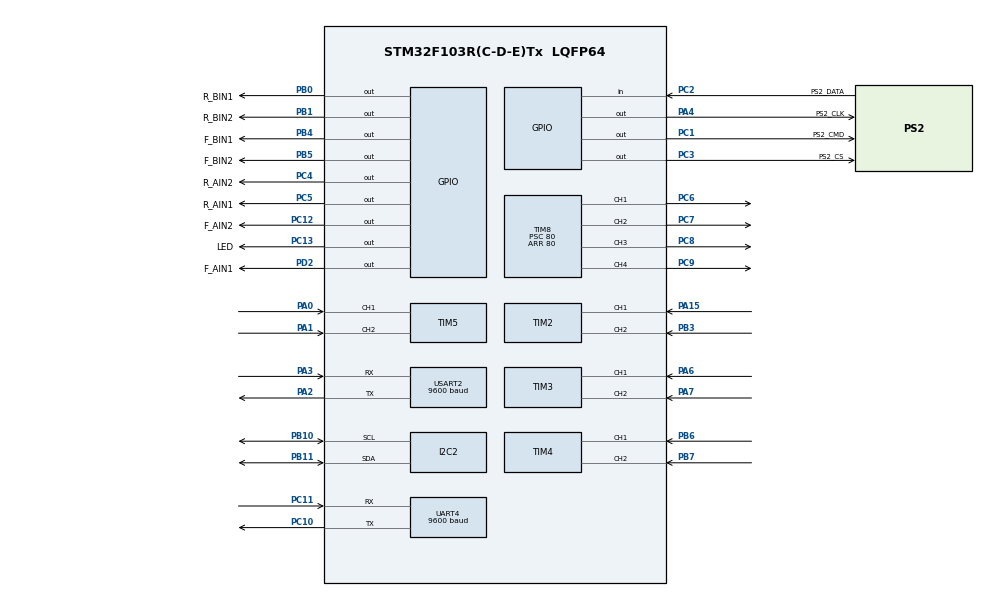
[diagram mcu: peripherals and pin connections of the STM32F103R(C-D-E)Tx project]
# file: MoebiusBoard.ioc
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Dma.Request0=UART4_RX
Dma.Request1=USART2_RX
Dma.UART4_RX.0.Direction=DMA_PERIPH_TO_MEMORY
Dma.UART4_RX.0.Instance=DMA2_Channel3
Dma.UART4_RX.0.MemDataAlignment=DMA_MDATAALIGN_BYTE
Dma.UART4_RX.0.MemInc=DMA_MINC_ENABLE
Dma.UART4_RX.0.Mode=DMA_NORMAL
Dma.UART4_RX.0.PeriphDataAlignment=DMA_PDATAALIGN_BYTE
Dma.UART4_RX.0.PeriphInc=DMA_PINC_DISABLE
Dma.UART4_RX.0.Priority=DMA_PRIORITY_LOW
Dma.USART2_RX.1.Direction=DMA_PERIPH_TO_MEMORY
Dma.USART2_RX.1.Instance=DMA1_Channel6
Dma.USART2_RX.1.MemDataAlignment=DMA_MDATAALIGN_BYTE
Dma.USART2_RX.1.MemInc=DMA_MINC_ENABLE
Dma.USART2_RX.1.Mode=DMA_NORMAL
Dma.USART2_RX.1.PeriphDataAlignment=DMA_PDATAALIGN_BYTE
Dma.USART2_RX.1.PeriphInc=DMA_PINC_DISABLE
Dma.USART2_RX.1.Priority=DMA_PRIORITY_LOW
Mcu.Family=STM32F1
Mcu.Name=STM32F103R(C-D-E)Tx
Mcu.Package=LQFP64
NVIC.DMA1_Channel6_IRQn=true\:0\:0\:false\:false\:true\:false\:true\:true
NVIC.DMA2_Channel3_IRQn=true\:0\:0\:false\:false\:true\:false\:true\:true
NVIC.PriorityGroup=NVIC_PRIORITYGROUP_4
NVIC.TIM2_IRQn=true\:0\:0\:false\:false\:true\:true\:true\:true
NVIC.TIM3_IRQn=true\:0\:0\:false\:false\:true\:true\:true\:true
NVIC.TIM4_IRQn=true\:0\:0\:false\:false\:true\:true\:true\:true
NVIC.TIM5_IRQn=true\:0\:0\:false\:false\:true\:true\:true\:true
NVIC.UART4_IRQn=true\:0\:0\:false\:false\:true\:true\:true\:true
PA0-WKUP.Signal=S_TIM5_CH1
PA1.Signal=S_TIM5_CH2
PA13.Mode=Serial_Wire
PA13.Signal=SYS_JTMS-SWDIO
PA14.Mode=Serial_Wire
PA14.Signal=SYS_JTCK-SWCLK
PA15.Signal=S_TIM2_CH1_ETR
PA2.Mode=Asynchronous
PA2.Signal=USART2_TX
PA3.Mode=Asynchronous
PA3.Signal=USART2_RX
PA4.GPIO_Label=PS2_CLK
PA4.Signal=GPIO_Output
PA6.Signal=S_TIM3_CH1
PA7.Signal=S_TIM3_CH2
PB0.GPIO_Label=R_BIN1
PB0.Signal=GPIO_Output
PB1.GPIO_Label=R_BIN2
PB1.Signal=GPIO_Output
PB10.Mode=I2C
PB10.Signal=I2C2_SCL
PB11.Mode=I2C
PB11.Signal=I2C2_SDA
PB3.Signal=S_TIM2_CH2
PB4.GPIO_Label=F_BIN1
PB4.Signal=GPIO_Output
PB5.GPIO_Label=F_BIN2
PB5.Signal=GPIO_Output
PB6.Signal=S_TIM4_CH1
PB7.Signal=S_TIM4_CH2
PC1.GPIO_Label=PS2_CMD
PC1.Signal=GPIO_Output
PC10.Mode=Asynchronous
PC10.Signal=UART4_TX
PC11.Mode=Asynchronous
PC11.Signal=UART4_RX
PC12.GPIO_Label=F_AIN2
PC12.Signal=GPIO_Output
PC13-TAMPER-RTC.GPIO_Label=LED
PC13-TAMPER-RTC.PinState=GPIO_PIN_SET
PC13-TAMPER-RTC.Signal=GPIO_Output
PC2.GPIO_Label=PS2_DATA
PC2.Signal=GPIO_Input
PC3.GPIO_Label=PS2_CS
PC3.Signal=GPIO_Output
PC4.GPIO_Label=R_AIN2
PC4.Signal=GPIO_Output
PC5.GPIO_Label=R_AIN1
PC5.Signal=GPIO_Output
PC6.Signal=S_TIM8_CH1
PC7.Signal=S_TIM8_CH2
PC8.Signal=S_TIM8_CH3
PC9.Signal=S_TIM8_CH4
PD2.GPIO_Label=F_AIN1
PD2.Signal=GPIO_Output
ProjectManager.HeapSize=0x200
ProjectManager.StackSize=0x400
ProjectManager.TargetToolchain=STM32CubeIDE
RCC.APB1Freq_Value=8000000
RCC.APB2Freq_Value=8000000
SH.S_TIM2_CH1_ETR.0=TIM2_CH1,Encoder_Interface
SH.S_TIM2_CH2.0=TIM2_CH2,Encoder_Interface
SH.S_TIM3_CH1.0=TIM3_CH1,Encoder_Interface
SH.S_TIM3_CH2.0=TIM3_CH2,Encoder_Interface
SH.S_TIM4_CH1.0=TIM4_CH1,Encoder_Interface
SH.S_TIM4_CH2.0=TIM4_CH2,Encoder_Interface
SH.S_TIM5_CH1.0=TIM5_CH1,Encoder_Interface
SH.S_TIM5_CH2.0=TIM5_CH2,Encoder_Interface
SH.S_TIM8_CH1.0=TIM8_CH1,PWM Generation1 CH1
SH.S_TIM8_CH2.0=TIM8_CH2,PWM Generation2 CH2
SH.S_TIM8_CH3.0=TIM8_CH3,PWM Generation3 CH3
SH.S_TIM8_CH4.0=TIM8_CH4,PWM Generation4 CH4
TIM2.EncoderMode=TIM_ENCODERMODE_TI12
TIM2.IC1Polarity=TIM_ICPOLARITY_RISING
TIM2.IC2Polarity=TIM_ICPOLARITY_RISING
TIM3.EncoderMode=TIM_ENCODERMODE_TI12
TIM3.IC1Polarity=TIM_ICPOLARITY_FALLING
TIM3.IC2Polarity=TIM_ICPOLARITY_FALLING
TIM4.EncoderMode=TIM_ENCODERMODE_TI12
TIM4.IC1Polarity=TIM_ICPOLARITY_RISING
TIM4.IC2Polarity=TIM_ICPOLARITY_RISING
TIM5.EncoderMode=TIM_ENCODERMODE_TI12
TIM8.Channel-PWM\ Generation1\ CH1=TIM_CHANNEL_1
TIM8.Channel-PWM\ Generation2\ CH2=TIM_CHANNEL_2
TIM8.Channel-PWM\ Generation3\ CH3=TIM_CHANNEL_3
TIM8.Channel-PWM\ Generation4\ CH4=TIM_CHANNEL_4
TIM8.OCPolarity_4=TIM_OCPOLARITY_HIGH
TIM8.Period=80
TIM8.Prescaler=80
TIM8.Pulse-PWM\ Generation4\ CH4=0
UART4.BaudRate=9600
UART4.VirtualMode=Asynchronous
USART2.BaudRate=9600
USART2.VirtualMode=VM_ASYNC
VP_TIM8_VS_ClockSourceINT.Mode=Internal
board=custom

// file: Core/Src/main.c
/* USER CODE BEGIN Header */
/**
 ******************************************************************************
 * @file           : main.c
 * @brief          : Main program body
 ******************************************************************************
 * @attention
 *
 * <h2><center>&copy; Copyright (c) 2021 STMicroelectronics.
 * All rights reserved.</center></h2>
 *
 * This software component is licensed by ST under BSD 3-Clause license,
 * the "License"; You may not use this file except in compliance with the
 * License. You may obtain a copy of the License at:
 *                        opensource.org/licenses/BSD-3-Clause
 *
 ******************************************************************************
 */
/* USER CODE END Header */
#include "main.h"

/* USER CODE BEGIN Includes */
#include "motor.h"
#include "MPU6050.h"
#include "SerialCommands.h"
#include "ps2.h"
#include "string.h"
#include "stdio.h"

/* USER CODE END Includes */

I2C_HandleTypeDef hi2c2;

TIM_HandleTypeDef htim2;
TIM_HandleTypeDef htim3;
TIM_HandleTypeDef htim4;
TIM_HandleTypeDef htim5;
TIM_HandleTypeDef htim8;

UART_HandleTypeDef huart4;
UART_HandleTypeDef huart2;
DMA_HandleTypeDef hdma_uart4_rx;
DMA_HandleTypeDef hdma_usart2_rx;

void SystemClock_Config(void);
static void MX_GPIO_Init(void);
static void MX_DMA_Init(void);
static void MX_I2C2_Init(void);
static void MX_TIM8_Init(void);
static void MX_TIM3_Init(void);
static void MX_UART4_Init(void);
static void MX_TIM4_Init(void);
static void MX_TIM5_Init(void);
static void MX_TIM2_Init(void);
static void MX_USART2_UART_Init(void);

/* USER CODE BEGIN 0 */

short RearLeftEncoderValue = 0;
short RearRightEncoderValue = 0;
short FrontRightEncoderValue = 0;
short FrontLeftEncoderValue = 0;

short RearLeftPosition = 0;
short RearRightPosition = 0;
short FrontRightPosition = 0;
short FrontLeftPosition = 0;

int RearLeftSpeed = 0;
int RearRightSpeed = 0;
int FrontRightSpeed = 0;
int FrontLeftSpeed = 0;

void InitTimers() {
	HAL_TIM_PWM_Start(&htim8, TIM_CHANNEL_1);
	HAL_TIM_PWM_Start(&htim8, TIM_CHANNEL_2);
	HAL_TIM_PWM_Start(&htim8, TIM_CHANNEL_3);
	HAL_TIM_PWM_Start(&htim8, TIM_CHANNEL_4);
}

void SetTimersDuty(uint8_t duty) {
	if (duty > 100) duty = 100;
	if (duty < 0) duty = 0;
	float pw_resolution = (((float)(htim8).Init.Period + 1.0f) / 100.0f);
	uint16_t pw_desired = pw_resolution * duty;
	__HAL_TIM_SET_COMPARE(&htim8, TIM_CHANNEL_1, pw_desired);
	__HAL_TIM_SET_COMPARE(&htim8, TIM_CHANNEL_2, pw_desired);
	__HAL_TIM_SET_COMPARE(&htim8, TIM_CHANNEL_3, pw_desired);
	__HAL_TIM_SET_COMPARE(&htim8, TIM_CHANNEL_4, pw_desired);
}

void HAL_TIM_IC_CaptureCallback(TIM_HandleTypeDef *htim) {
	if (htim->Instance == TIM2) {
		FrontRightEncoderValue = (short)__HAL_TIM_GET_COUNTER(htim);
		FrontRightPosition = FrontRightEncoderValue/4;
		return;
	}
	if (htim->Instance == TIM3) {
		FrontLeftEncoderValue = (short)__HAL_TIM_GET_COUNTER(htim);
		FrontLeftPosition = FrontLeftEncoderValue/4;
		return;
	}
	if (htim->Instance == TIM4) {
		RearLeftEncoderValue = (short)__HAL_TIM_GET_COUNTER(htim);
		RearLeftPosition = RearLeftEncoderValue/4;
		return;
	}
	if (htim->Instance == TIM5) {
		RearRightEncoderValue = (short)__HAL_TIM_GET_COUNTER(htim);
		RearRightPosition = RearRightEncoderValue/4;
		return;
	}
}

/* USER CODE END 0 */

int main(void)
{

  /* MCU Configuration--------------------------------------------------------*/

  /* Reset of all peripherals, Initializes the Flash interface and the Systick. */
  HAL_Init();

  /* Configure the system clock */
  SystemClock_Config();

  /* Initialize all configured peripherals */
  MX_GPIO_Init();
  MX_DMA_Init();
  MX_I2C2_Init();
  MX_TIM8_Init();
  MX_TIM3_Init();
  MX_UART4_Init();
  MX_TIM4_Init();
  MX_TIM5_Init();
  MX_TIM2_Init();
  MX_USART2_UART_Init();
  /* USER CODE BEGIN 2 */

	InitTimers();
	HAL_TIM_Encoder_Start_IT(&htim2, TIM_CHANNEL_ALL);
	HAL_TIM_Encoder_Start_IT(&htim3, TIM_CHANNEL_ALL);
	HAL_TIM_Encoder_Start_IT(&htim4, TIM_CHANNEL_ALL);
	HAL_TIM_Encoder_Start_IT(&htim5, TIM_CHANNEL_ALL);

	uint8_t duty = 30;
	SetTimersDuty(duty);

	duty = 0;
  /* USER CODE END 2 */

  /* Infinite loop */
  /* USER CODE BEGIN WHILE */
	uint8_t sprintBuffer[40];
	uint8_t stringSize;
	StartReceivingSerialCommands(&huart4);
	MPU6050_Init();

	/* USER CODE BEGIN 2 */

	/* USER CODE END 2 */

	/* Infinite loop */
	/* USER CODE BEGIN WHILE */

	stringSize = sprintf((char*)sprintBuffer, "Started:\r\n");
	HAL_UART_Transmit(&huart4, sprintBuffer, stringSize, 100);

	//MoveFrontRightForward();
	//MoveFrontLeftForward();
	//MoveRearRightForward();
//	MoveRearLeftForward();
//	while (1) {
//		stringSize = sprintf((char*)sprintBuffer, "RearLeftEncoderValue: %i	%i\r\n", RearLeftEncoderValue, RearLeftSpeed);
//		HAL_UART_Transmit(&huart4, sprintBuffer, stringSize, 100);
//		stringSize = sprintf((char*)sprintBuffer, "RearRightEncoderValue: %i	%i\r\n", RearRightEncoderValue, RearRightSpeed);
//		HAL_UART_Transmit(&huart4, sprintBuffer, stringSize, 100);
//		stringSize = sprintf((char*)sprintBuffer, "FrontRightEncoderValue: %i	%i\r\n", FrontRightEncoderValue, FrontRightSpeed);
//		HAL_UART_Transmit(&huart4, sprintBuffer, stringSize, 100);
//		stringSize = sprintf((char*)sprintBuffer, "FronLeftEncoderValue: %i	%i\r\n", FrontLeftEncoderValue,FrontLeftSpeed);
//		HAL_UART_Transmit(&huart4, sprintBuffer, stringSize, 100);
//	}

	PS2_SetInit();
	while (1) {
		PS2_Receive();
		stringSize = sprintf((char*)sprintBuffer, "Acceleration: LY:%d  LX:%i  RY:%d \r\n", PS2_LY, PS2_LX, PS2_KEY);
		HAL_UART_Transmit(&huart4, sprintBuffer, stringSize, 100);
		if(PS2_LY > 190) {
			MoveForward();
			SetTimersDuty(((PS2_LY - 190) * 100) / 64);
			//SetTimersDuty(255);
		}
		else {
			MoveBackward();
			SetTimersDuty(((190 - PS2_LY) * 100) / 64);
			//SetTimersDuty(100);
		}
		//SetRearRightMotorDirection(Backward);
		if (isSerialCommandAvailable) {
			HAL_GPIO_TogglePin(GPIOC, LED_Pin);
			struct Command command = GetNextCommand();
			struct Acceleration acceleration;
			struct Gyro gyro;
			SetTimersDuty(command.value);
			switch (command.commandType) {
				case Stop:
					stringSize = sprintf((char*)sprintBuffer, "Stop: %i\r\n", command.value);
					StopMotors();
					break;
				case ForwardMovement:
					stringSize = sprintf((char*)sprintBuffer, "ForwardMovement: %i\r\n", command.value);
					MoveForward();
					break;
				case BackwardMovement:
					stringSize = sprintf((char*)sprintBuffer, "BackwardMovement: %i\r\n", command.value);
					MoveBackward();
					break;
				case LeftMovement:
					stringSize = sprintf((char*)sprintBuffer, "LeftMovement: %i\r\n", command.value);
					MoveLeft();
					break;
				case RightMovement:
					stringSize = sprintf((char*)sprintBuffer, "RightMovement: %i\r\n", command.value);
					MoveRight();
					break;
				case ForwardLeftMovement:
					stringSize = sprintf((char*)sprintBuffer, "ForwardLeftMovement: %i\r\n", command.value);
					MoveForwardLeft();
					break;
				case ForwardRightMovement:
					stringSize = sprintf((char*)sprintBuffer, "ForwardRightMovement: %i\r\n", command.value);
					MoveForwardRight();
					break;
				case BackwardLeftMovement:
					stringSize = sprintf((char*)sprintBuffer, "BackwardLeftMovement: %i\r\n", command.value);
					MoveBackwardLeft();
					break;
				case BackwardRightMovement:
					stringSize = sprintf((char*)sprintBuffer, "BackwardRightMovement: %i\r\n", command.value);
					MoveBackwardRight();
					break;
				case RightRotationMovement:
					stringSize = sprintf((char*)sprintBuffer, "RightRotationMovement: %i\r\n", command.value);
					MoveRightRotation();
					break;
				case LeftRotationMovement:
					stringSize = sprintf((char*)sprintBuffer, "LeftRotationMovement: %i\r\n", command.value);
					MoveLeftRotation();
					break;
				case FrontRightForward:
					stringSize = sprintf((char*)sprintBuffer, "FrontRightForward: %i\r\n", command.value);
					MoveFrontRightForward();
					break;
				case FrontRightBackward:
					stringSize = sprintf((char*)sprintBuffer, "FrontRightBackward: %i\r\n", command.value);
					MoveFrontRightBackward();
					break;
				case FrontLeftForward:
					stringSize = sprintf((char*)sprintBuffer, "FrontLeftForward: %i\r\n", command.value);
					MoveFrontLeftForward();
					break;
				case FrontLeftBackward:
					stringSize = sprintf((char*)sprintBuffer, "FrontLeftBackward: %i\r\n", command.value);
					MoveFrontLeftBackward();
					break;
				case RearRightForward:
					stringSize = sprintf((char*)sprintBuffer, "RearRightForward: %i\r\n", command.value);
					MoveRearRightForward();
					break;
				case RearRightBackward:
					stringSize = sprintf((char*)sprintBuffer, "RearRightBackward: %i\r\n", command.value);
					MoveRearRightBackward();
					break;
				case RearLeftForward:
					stringSize = sprintf((char*)sprintBuffer, "RearLeftForward: %i\r\n", command.value);
					MoveRearLeftForward();
					break;
				case RearLeftBackward:
					stringSize = sprintf((char*)sprintBuffer, "RearLeftBackward: %i\r\n", command.value);
					MoveRearLeftBackward();
					break;
				case TestMotors:
					stringSize = sprintf((char*)sprintBuffer, "TestMotor: %i\r\n", command.value);
					TestMotor();
					break;
				case ReadMPU6050:
					acceleration = Read_Accel();
					gyro = Read_Gyro();
					stringSize = sprintf((char*)sprintBuffer, "Acceleration: Ax:%d  Ay:%i  Az:%d \r\n", acceleration.Accel_X_RAW, acceleration.Accel_Y_RAW, acceleration.Accel_Z_RAW);
					HAL_UART_Transmit(&huart4, sprintBuffer, stringSize, 100);
					stringSize = sprintf((char*)sprintBuffer, "GAx:%f  GAy:%f  GAz:%f \r\n", acceleration.GAccel.Ax, acceleration.GAccel.Ay, acceleration.GAccel.Az);
					HAL_UART_Transmit(&huart4, sprintBuffer, stringSize, 100);
					stringSize = sprintf((char*)sprintBuffer, "Gyro: Gx:%d  Gy:%d  Gz:%d \r\n", gyro.Gyro_X_RAW, gyro.Gyro_Y_RAW, gyro.Gyro_Z_RAW);
					HAL_UART_Transmit(&huart4, sprintBuffer, stringSize, 100);
					stringSize = sprintf((char*)sprintBuffer, "GGAx:%f  GGAy:%f  GGAz:%f \r\n", gyro.GGyro.Gx, gyro.GGyro.Gy, gyro.GGyro.Gz);
					break;
				case PrintEncoders:
					stringSize = sprintf((char*)sprintBuffer, "RearLeftEncoderValue: %i	%i\r\n", RearLeftEncoderValue, RearLeftSpeed);
					HAL_UART_Transmit(&huart4, sprintBuffer, stringSize, 100);
					stringSize = sprintf((char*)sprintBuffer, "RearRightEncoderValue: %i	%i\r\n", RearRightEncoderValue, RearRightSpeed);
					HAL_UART_Transmit(&huart4, sprintBuffer, stringSize, 100);
					stringSize = sprintf((char*)sprintBuffer, "FrontRightEncoderValue: %i	%i\r\n", FrontRightEncoderValue, FrontRightSpeed);
					HAL_UART_Transmit(&huart4, sprintBuffer, stringSize, 100);
					stringSize = sprintf((char*)sprintBuffer, "FronLeftEncoderValue: %i	%i\r\n", FrontLeftEncoderValue,FrontLeftSpeed);
					break;
			}
			HAL_UART_Transmit(&huart4, sprintBuffer, stringSize, 100);
		}
    /* USER CODE END WHILE */

    /* USER CODE BEGIN 3 */

		//HAL_UART_Transmit(&huart4, sprintBuffer, stringSize, 100);
		//HAL_UART_Transmit(&huart4, txBuffer, 6, 100);
		//SetTimersDuty(duty);
		/*HAL_GPIO_WritePin(GPIOC, GPIO_PIN_13, 1);
		 HAL_Delay(3000);
		 HAL_GPIO_WritePin(GPIOC, GPIO_PIN_13, 0);
		 HAL_Delay(3000);*/
		//HAL_Delay(1000);
		/*duty++;
		 if ( duty > 30) {
		 duty = 0;
		 }*/
	}
  /* USER CODE END 3 */
}

void SystemClock_Config(void)
{
  RCC_OscInitTypeDef RCC_OscInitStruct = {0};
  RCC_ClkInitTypeDef RCC_ClkInitStruct = {0};

  /** Initializes the RCC Oscillators according to the specified parameters
  * in the RCC_OscInitTypeDef structure.
  */
  RCC_OscInitStruct.OscillatorType = RCC_OSCILLATORTYPE_HSI;
  RCC_OscInitStruct.HSIState = RCC_HSI_ON;
  RCC_OscInitStruct.HSICalibrationValue = RCC_HSICALIBRATION_DEFAULT;
  RCC_OscInitStruct.PLL.PLLState = RCC_PLL_NONE;
  if (HAL_RCC_OscConfig(&RCC_OscInitStruct) != HAL_OK)
  {
    Error_Handler();
  }

  /** Initializes the CPU, AHB and APB buses clocks
  */
  RCC_ClkInitStruct.ClockType = RCC_CLOCKTYPE_HCLK|RCC_CLOCKTYPE_SYSCLK
                              |RCC_CLOCKTYPE_PCLK1|RCC_CLOCKTYPE_PCLK2;
  RCC_ClkInitStruct.SYSCLKSource = RCC_SYSCLKSOURCE_HSI;
  RCC_ClkInitStruct.AHBCLKDivider = RCC_SYSCLK_DIV1;
  RCC_ClkInitStruct.APB1CLKDivider = RCC_HCLK_DIV1;
  RCC_ClkInitStruct.APB2CLKDivider = RCC_HCLK_DIV1;

  if (HAL_RCC_ClockConfig(&RCC_ClkInitStruct, FLASH_LATENCY_0) != HAL_OK)
  {
    Error_Handler();
  }
}

static void MX_I2C2_Init(void)
{

  hi2c2.Instance = I2C2;
  hi2c2.Init.ClockSpeed = 100000;
  hi2c2.Init.DutyCycle = I2C_DUTYCYCLE_2;
  hi2c2.Init.OwnAddress1 = 0;
  hi2c2.Init.AddressingMode = I2C_ADDRESSINGMODE_7BIT;
  hi2c2.Init.DualAddressMode = I2C_DUALADDRESS_DISABLE;
  hi2c2.Init.OwnAddress2 = 0;
  hi2c2.Init.GeneralCallMode = I2C_GENERALCALL_DISABLE;
  hi2c2.Init.NoStretchMode = I2C_NOSTRETCH_DISABLE;
  if (HAL_I2C_Init(&hi2c2) != HAL_OK)
  {
    Error_Handler();
  }

}

static void MX_TIM2_Init(void)
{

  TIM_Encoder_InitTypeDef sConfig = {0};
  TIM_MasterConfigTypeDef sMasterConfig = {0};

  htim2.Instance = TIM2;
  htim2.Init.Prescaler = 0;
  htim2.Init.CounterMode = TIM_COUNTERMODE_UP;
  htim2.Init.Period = 65535;
  htim2.Init.ClockDivision = TIM_CLOCKDIVISION_DIV1;
  htim2.Init.AutoReloadPreload = TIM_AUTORELOAD_PRELOAD_DISABLE;
  sConfig.EncoderMode = TIM_ENCODERMODE_TI12;
  sConfig.IC1Polarity = TIM_ICPOLARITY_RISING;
  sConfig.IC1Selection = TIM_ICSELECTION_DIRECTTI;
  sConfig.IC1Prescaler = TIM_ICPSC_DIV1;
  sConfig.IC1Filter = 0;
  sConfig.IC2Polarity = TIM_ICPOLARITY_RISING;
  sConfig.IC2Selection = TIM_ICSELECTION_DIRECTTI;
  sConfig.IC2Prescaler = TIM_ICPSC_DIV1;
  sConfig.IC2Filter = 0;
  if (HAL_TIM_Encoder_Init(&htim2, &sConfig) != HAL_OK)
  {
    Error_Handler();
  }
  sMasterConfig.MasterOutputTrigger = TIM_TRGO_RESET;
  sMasterConfig.MasterSlaveMode = TIM_MASTERSLAVEMODE_DISABLE;
  if (HAL_TIMEx_MasterConfigSynchronization(&htim2, &sMasterConfig) != HAL_OK)
  {
    Error_Handler();
  }

}

static void MX_TIM3_Init(void)
{

  TIM_Encoder_InitTypeDef sConfig = {0};
  TIM_MasterConfigTypeDef sMasterConfig = {0};

  htim3.Instance = TIM3;
  htim3.Init.Prescaler = 0;
  htim3.Init.CounterMode = TIM_COUNTERMODE_UP;
  htim3.Init.Period = 65535;
  htim3.Init.ClockDivision = TIM_CLOCKDIVISION_DIV1;
  htim3.Init.AutoReloadPreload = TIM_AUTORELOAD_PRELOAD_DISABLE;
  sConfig.EncoderMode = TIM_ENCODERMODE_TI12;
  sConfig.IC1Polarity = TIM_ICPOLARITY_FALLING;
  sConfig.IC1Selection = TIM_ICSELECTION_DIRECTTI;
  sConfig.IC1Prescaler = TIM_ICPSC_DIV1;
  sConfig.IC1Filter = 0;
  sConfig.IC2Polarity = TIM_ICPOLARITY_FALLING;
  sConfig.IC2Selection = TIM_ICSELECTION_DIRECTTI;
  sConfig.IC2Prescaler = TIM_ICPSC_DIV1;
  sConfig.IC2Filter = 0;
  if (HAL_TIM_Encoder_Init(&htim3, &sConfig) != HAL_OK)
  {
    Error_Handler();
  }
  sMasterConfig.MasterOutputTrigger = TIM_TRGO_RESET;
  sMasterConfig.MasterSlaveMode = TIM_MASTERSLAVEMODE_DISABLE;
  if (HAL_TIMEx_MasterConfigSynchronization(&htim3, &sMasterConfig) != HAL_OK)
  {
    Error_Handler();
  }

}

static void MX_TIM4_Init(void)
{

  TIM_Encoder_InitTypeDef sConfig = {0};
  TIM_MasterConfigTypeDef sMasterConfig = {0};

  htim4.Instance = TIM4;
  htim4.Init.Prescaler = 0;
  htim4.Init.CounterMode = TIM_COUNTERMODE_UP;
  htim4.Init.Period = 65535;
  htim4.Init.ClockDivision = TIM_CLOCKDIVISION_DIV1;
  htim4.Init.AutoReloadPreload = TIM_AUTORELOAD_PRELOAD_DISABLE;
  sConfig.EncoderMode = TIM_ENCODERMODE_TI12;
  sConfig.IC1Polarity = TIM_ICPOLARITY_RISING;
  sConfig.IC1Selection = TIM_ICSELECTION_DIRECTTI;
  sConfig.IC1Prescaler = TIM_ICPSC_DIV1;
  sConfig.IC1Filter = 0;
  sConfig.IC2Polarity = TIM_ICPOLARITY_RISING;
  sConfig.IC2Selection = TIM_ICSELECTION_DIRECTTI;
  sConfig.IC2Prescaler = TIM_ICPSC_DIV1;
  sConfig.IC2Filter = 0;
  if (HAL_TIM_Encoder_Init(&htim4, &sConfig) != HAL_OK)
  {
    Error_Handler();
  }
  sMasterConfig.MasterOutputTrigger = TIM_TRGO_RESET;
  sMasterConfig.MasterSlaveMode = TIM_MASTERSLAVEMODE_DISABLE;
  if (HAL_TIMEx_MasterConfigSynchronization(&htim4, &sMasterConfig) != HAL_OK)
  {
    Error_Handler();
  }

}

static void MX_TIM5_Init(void)
{

  TIM_Encoder_InitTypeDef sConfig = {0};
  TIM_MasterConfigTypeDef sMasterConfig = {0};

  htim5.Instance = TIM5;
  htim5.Init.Prescaler = 0;
  htim5.Init.CounterMode = TIM_COUNTERMODE_UP;
  htim5.Init.Period = 65535;
  htim5.Init.ClockDivision = TIM_CLOCKDIVISION_DIV1;
  htim5.Init.AutoReloadPreload = TIM_AUTORELOAD_PRELOAD_DISABLE;
  sConfig.EncoderMode = TIM_ENCODERMODE_TI12;
  sConfig.IC1Polarity = TIM_ICPOLARITY_RISING;
  sConfig.IC1Selection = TIM_ICSELECTION_DIRECTTI;
  sConfig.IC1Prescaler = TIM_ICPSC_DIV1;
  sConfig.IC1Filter = 0;
  sConfig.IC2Polarity = TIM_ICPOLARITY_RISING;
  sConfig.IC2Selection = TIM_ICSELECTION_DIRECTTI;
  sConfig.IC2Prescaler = TIM_ICPSC_DIV1;
  sConfig.IC2Filter = 0;
  if (HAL_TIM_Encoder_Init(&htim5, &sConfig) != HAL_OK)
  {
    Error_Handler();
  }
  sMasterConfig.MasterOutputTrigger = TIM_TRGO_RESET;
  sMasterConfig.MasterSlaveMode = TIM_MASTERSLAVEMODE_DISABLE;
  if (HAL_TIMEx_MasterConfigSynchronization(&htim5, &sMasterConfig) != HAL_OK)
  {
    Error_Handler();
  }

}

static void MX_TIM8_Init(void)
{

  TIM_ClockConfigTypeDef sClockSourceConfig = {0};
  TIM_MasterConfigTypeDef sMasterConfig = {0};
  TIM_OC_InitTypeDef sConfigOC = {0};
  TIM_BreakDeadTimeConfigTypeDef sBreakDeadTimeConfig = {0};

  htim8.Instance = TIM8;
  htim8.Init.Prescaler = 80;
  htim8.Init.CounterMode = TIM_COUNTERMODE_UP;
  htim8.Init.Period = 80;
  htim8.Init.ClockDivision = TIM_CLOCKDIVISION_DIV1;
  htim8.Init.RepetitionCounter = 0;
  htim8.Init.AutoReloadPreload = TIM_AUTORELOAD_PRELOAD_DISABLE;
  if (HAL_TIM_Base_Init(&htim8) != HAL_OK)
  {
    Error_Handler();
  }
  sClockSourceConfig.ClockSource = TIM_CLOCKSOURCE_INTERNAL;
  if (HAL_TIM_ConfigClockSource(&htim8, &sClockSourceConfig) != HAL_OK)
  {
    Error_Handler();
  }
  if (HAL_TIM_PWM_Init(&htim8) != HAL_OK)
  {
    Error_Handler();
  }
  sMasterConfig.MasterOutputTrigger = TIM_TRGO_RESET;
  sMasterConfig.MasterSlaveMode = TIM_MASTERSLAVEMODE_DISABLE;
  if (HAL_TIMEx_MasterConfigSynchronization(&htim8, &sMasterConfig) != HAL_OK)
  {
    Error_Handler();
  }
  sConfigOC.OCMode = TIM_OCMODE_PWM1;
  sConfigOC.Pulse = 0;
  sConfigOC.OCPolarity = TIM_OCPOLARITY_HIGH;
  sConfigOC.OCNPolarity = TIM_OCNPOLARITY_HIGH;
  sConfigOC.OCFastMode = TIM_OCFAST_DISABLE;
  sConfigOC.OCIdleState = TIM_OCIDLESTATE_RESET;
  sConfigOC.OCNIdleState = TIM_OCNIDLESTATE_RESET;
  if (HAL_TIM_PWM_ConfigChannel(&htim8, &sConfigOC, TIM_CHANNEL_1) != HAL_OK)
  {
    Error_Handler();
  }
  if (HAL_TIM_PWM_ConfigChannel(&htim8, &sConfigOC, TIM_CHANNEL_2) != HAL_OK)
  {
    Error_Handler();
  }
  if (HAL_TIM_PWM_ConfigChannel(&htim8, &sConfigOC, TIM_CHANNEL_3) != HAL_OK)
  {
    Error_Handler();
  }
  if (HAL_TIM_PWM_ConfigChannel(&htim8, &sConfigOC, TIM_CHANNEL_4) != HAL_OK)
  {
    Error_Handler();
  }
  sBreakDeadTimeConfig.OffStateRunMode = TIM_OSSR_DISABLE;
  sBreakDeadTimeConfig.OffStateIDLEMode = TIM_OSSI_DISABLE;
  sBreakDeadTimeConfig.LockLevel = TIM_LOCKLEVEL_OFF;
  sBreakDeadTimeConfig.DeadTime = 0;
  sBreakDeadTimeConfig.BreakState = TIM_BREAK_DISABLE;
  sBreakDeadTimeConfig.BreakPolarity = TIM_BREAKPOLARITY_HIGH;
  sBreakDeadTimeConfig.AutomaticOutput = TIM_AUTOMATICOUTPUT_DISABLE;
  if (HAL_TIMEx_ConfigBreakDeadTime(&htim8, &sBreakDeadTimeConfig) != HAL_OK)
  {
    Error_Handler();
  }
  HAL_TIM_MspPostInit(&htim8);

}

static void MX_UART4_Init(void)
{

  huart4.Instance = UART4;
  huart4.Init.BaudRate = 9600;
  huart4.Init.WordLength = UART_WORDLENGTH_8B;
  huart4.Init.StopBits = UART_STOPBITS_1;
  huart4.Init.Parity = UART_PARITY_NONE;
  huart4.Init.Mode = UART_MODE_TX_RX;
  huart4.Init.HwFlowCtl = UART_HWCONTROL_NONE;
  huart4.Init.OverSampling = UART_OVERSAMPLING_16;
  if (HAL_UART_Init(&huart4) != HAL_OK)
  {
    Error_Handler();
  }

}

static void MX_USART2_UART_Init(void)
{

  huart2.Instance = USART2;
  huart2.Init.BaudRate = 9600;
  huart2.Init.WordLength = UART_WORDLENGTH_8B;
  huart2.Init.StopBits = UART_STOPBITS_1;
  huart2.Init.Parity = UART_PARITY_NONE;
  huart2.Init.Mode = UART_MODE_TX_RX;
  huart2.Init.HwFlowCtl = UART_HWCONTROL_NONE;
  huart2.Init.OverSampling = UART_OVERSAMPLING_16;
  if (HAL_UART_Init(&huart2) != HAL_OK)
  {
    Error_Handler();
  }

}

static void MX_DMA_Init(void)
{

  /* DMA controller clock enable */
  __HAL_RCC_DMA2_CLK_ENABLE();
  __HAL_RCC_DMA1_CLK_ENABLE();

  /* DMA interrupt init */
  /* DMA1_Channel6_IRQn interrupt configuration */
  HAL_NVIC_SetPriority(DMA1_Channel6_IRQn, 0, 0);
  HAL_NVIC_EnableIRQ(DMA1_Channel6_IRQn);
  /* DMA2_Channel3_IRQn interrupt configuration */
  HAL_NVIC_SetPriority(DMA2_Channel3_IRQn, 0, 0);
  HAL_NVIC_EnableIRQ(DMA2_Channel3_IRQn);

}

static void MX_GPIO_Init(void)
{
  GPIO_InitTypeDef GPIO_InitStruct = {0};

  /* GPIO Ports Clock Enable */
  __HAL_RCC_GPIOC_CLK_ENABLE();
  __HAL_RCC_GPIOA_CLK_ENABLE();
  __HAL_RCC_GPIOB_CLK_ENABLE();
  __HAL_RCC_GPIOD_CLK_ENABLE();

  /*Configure GPIO pin Output Level */
  HAL_GPIO_WritePin(LED_GPIO_Port, LED_Pin, GPIO_PIN_SET);

  /*Configure GPIO pin Output Level */
  HAL_GPIO_WritePin(GPIOC, PS2_CMD_Pin|PS2_CS_Pin|R_AIN2_Pin|R_AIN1_Pin
                          |F_AIN2_Pin, GPIO_PIN_RESET);

  /*Configure GPIO pin Output Level */
  HAL_GPIO_WritePin(PS2_CLK_GPIO_Port, PS2_CLK_Pin, GPIO_PIN_RESET);

  /*Configure GPIO pin Output Level */
  HAL_GPIO_WritePin(GPIOB, R_BIN1_Pin|R_BIN2_Pin|F_BIN1_Pin|F_BIN2_Pin, GPIO_PIN_RESET);

  /*Configure GPIO pin Output Level */
  HAL_GPIO_WritePin(F_AIN1_GPIO_Port, F_AIN1_Pin, GPIO_PIN_RESET);

  /*Configure GPIO pins : LED_Pin PS2_CMD_Pin PS2_CS_Pin R_AIN2_Pin
                           R_AIN1_Pin F_AIN2_Pin */
  GPIO_InitStruct.Pin = LED_Pin|PS2_CMD_Pin|PS2_CS_Pin|R_AIN2_Pin
                          |R_AIN1_Pin|F_AIN2_Pin;
  GPIO_InitStruct.Mode = GPIO_MODE_OUTPUT_PP;
  GPIO_InitStruct.Pull = GPIO_NOPULL;
  GPIO_InitStruct.Speed = GPIO_SPEED_FREQ_LOW;
  HAL_GPIO_Init(GPIOC, &GPIO_InitStruct);

  /*Configure GPIO pin : PS2_DATA_Pin */
  GPIO_InitStruct.Pin = PS2_DATA_Pin;
  GPIO_InitStruct.Mode = GPIO_MODE_INPUT;
  GPIO_InitStruct.Pull = GPIO_NOPULL;
  HAL_GPIO_Init(PS2_DATA_GPIO_Port, &GPIO_InitStruct);

  /*Configure GPIO pin : PS2_CLK_Pin */
  GPIO_InitStruct.Pin = PS2_CLK_Pin;
  GPIO_InitStruct.Mode = GPIO_MODE_OUTPUT_PP;
  GPIO_InitStruct.Pull = GPIO_NOPULL;
  GPIO_InitStruct.Speed = GPIO_SPEED_FREQ_LOW;
  HAL_GPIO_Init(PS2_CLK_GPIO_Port, &GPIO_InitStruct);

  /*Configure GPIO pins : R_BIN1_Pin R_BIN2_Pin F_BIN1_Pin F_BIN2_Pin */
  GPIO_InitStruct.Pin = R_BIN1_Pin|R_BIN2_Pin|F_BIN1_Pin|F_BIN2_Pin;
  GPIO_InitStruct.Mode = GPIO_MODE_OUTPUT_PP;
  GPIO_InitStruct.Pull = GPIO_NOPULL;
  GPIO_InitStruct.Speed = GPIO_SPEED_FREQ_LOW;
  HAL_GPIO_Init(GPIOB, &GPIO_InitStruct);

  /*Configure GPIO pin : F_AIN1_Pin */
  GPIO_InitStruct.Pin = F_AIN1_Pin;
  GPIO_InitStruct.Mode = GPIO_MODE_OUTPUT_PP;
  GPIO_InitStruct.Pull = GPIO_NOPULL;
  GPIO_InitStruct.Speed = GPIO_SPEED_FREQ_LOW;
  HAL_GPIO_Init(F_AIN1_GPIO_Port, &GPIO_InitStruct);

}

void Error_Handler(void)
{
	__disable_irq();
	while (1) {
	}
}
